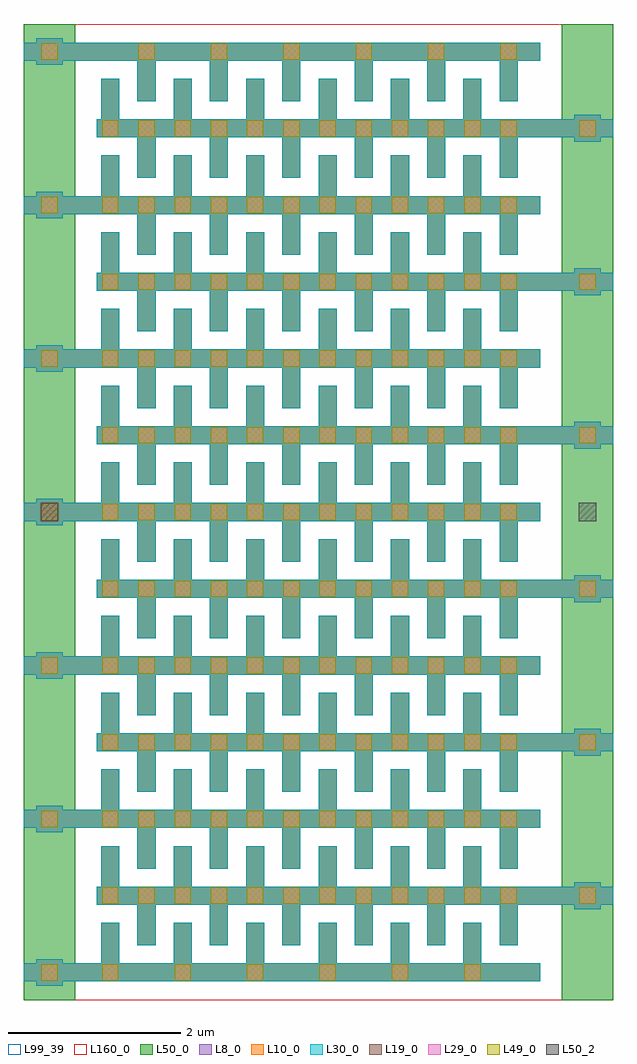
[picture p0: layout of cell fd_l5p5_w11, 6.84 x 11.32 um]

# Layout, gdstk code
import gdstk
lib = gdstk.Library(unit=1e-6, precision=1e-09)
def R(c, l, rs):  # rectangles x0, y0, x1, y1
    for r in rs: c.add(gdstk.rectangle(r[:2], r[2:], *l))
def A(c, l, x, y, w, h, nx, ny, dx, dy):  # array of equal rectangles
    R(c, l, [(x+i*dx, y+j*dy, x+i*dx+w, y+j*dy+h) for i in range(nx) for j in range(ny)])
L8_0 = (8, 0)
L10_0 = (10, 0)
L19_0 = (19, 0)
L29_0 = (29, 0)
L30_0 = (30, 0)
L49_0 = (49, 0)
L50_0 = (50, 0)
L50_2 = (50, 2)
L99_39 = (99, 39)
L160_0 = (160, 0)

fd_l5p5_w11 = lib.new_cell('fd_l5p5_w11')
A(fd_l5p5_w11, L8_0, -0.755, -0.155, 0.31, 0.31, 1, 7, 0, 1.78)
A(fd_l5p5_w11, L8_0, -0.9, -0.105, 5.99, 0.21, 1, 7, 0, 1.78)
A(fd_l5p5_w11, L8_0, 0, 0, 0.21, 0.575, 6, 12, 0.84, 0.89)
A(fd_l5p5_w11, L8_0, 0.42, 0.315, 0.21, 0.575, 6, 12, 0.84, 0.89)
A(fd_l5p5_w11, L8_0, 5.485, 0.735, 0.31, 0.31, 1, 6, 0, 1.78)
A(fd_l5p5_w11, L8_0, -0.05, 0.785, 5.99, 0.21, 1, 6, 0, 1.78)
A(fd_l5p5_w11, L10_0, -0.755, -0.155, 0.31, 0.31, 1, 7, 0, 1.78)
A(fd_l5p5_w11, L10_0, -0.9, -0.105, 5.99, 0.21, 1, 7, 0, 1.78)
A(fd_l5p5_w11, L10_0, 0, 0, 0.21, 0.575, 6, 12, 0.84, 0.89)
A(fd_l5p5_w11, L10_0, 0.42, 0.315, 0.21, 0.575, 6, 12, 0.84, 0.89)
A(fd_l5p5_w11, L10_0, 5.485, 0.735, 0.31, 0.31, 1, 6, 0, 1.78)
A(fd_l5p5_w11, L10_0, -0.05, 0.785, 5.99, 0.21, 1, 6, 0, 1.78)
A(fd_l5p5_w11, L19_0, -0.695, -0.095, 0.19, 0.19, 1, 7, 0, 1.78)
A(fd_l5p5_w11, L19_0, 0.01, -0.095, 0.19, 0.19, 6, 1, 0.84, 0)
A(fd_l5p5_w11, L19_0, 0.01, 0.795, 0.19, 0.19, 12, 11, 0.42, 0.89)
A(fd_l5p5_w11, L19_0, 5.545, 0.795, 0.19, 0.19, 1, 6, 0, 1.78)
A(fd_l5p5_w11, L19_0, 0.43, 10.585, 0.19, 0.19, 6, 1, 0.84, 0)
A(fd_l5p5_w11, L29_0, -0.695, -0.095, 0.19, 0.19, 1, 7, 0, 1.78)
A(fd_l5p5_w11, L29_0, 0.01, -0.095, 0.19, 0.19, 6, 1, 0.84, 0)
A(fd_l5p5_w11, L29_0, 0.01, 0.795, 0.19, 0.19, 12, 11, 0.42, 0.89)
A(fd_l5p5_w11, L29_0, 5.545, 0.795, 0.19, 0.19, 1, 6, 0, 1.78)
A(fd_l5p5_w11, L29_0, 0.43, 10.585, 0.19, 0.19, 6, 1, 0.84, 0)
A(fd_l5p5_w11, L30_0, -0.755, -0.155, 0.31, 0.31, 1, 7, 0, 1.78)
A(fd_l5p5_w11, L30_0, -0.9, -0.105, 5.99, 0.21, 1, 7, 0, 1.78)
A(fd_l5p5_w11, L30_0, 0, 0, 0.21, 0.575, 6, 12, 0.84, 0.89)
A(fd_l5p5_w11, L30_0, 0.42, 0.315, 0.21, 0.575, 6, 12, 0.84, 0.89)
A(fd_l5p5_w11, L30_0, 5.485, 0.735, 0.31, 0.31, 1, 6, 0, 1.78)
A(fd_l5p5_w11, L30_0, -0.05, 0.785, 5.99, 0.21, 1, 6, 0, 1.78)
A(fd_l5p5_w11, L49_0, -0.695, -0.095, 0.19, 0.19, 1, 7, 0, 1.78)
A(fd_l5p5_w11, L49_0, 0.01, -0.095, 0.19, 0.19, 6, 1, 0.84, 0)
A(fd_l5p5_w11, L49_0, 0.01, 0.795, 0.19, 0.19, 12, 11, 0.42, 0.89)
A(fd_l5p5_w11, L49_0, 5.545, 0.795, 0.19, 0.19, 1, 6, 0, 1.78)
A(fd_l5p5_w11, L49_0, 0.43, 10.585, 0.19, 0.19, 6, 1, 0.84, 0)
A(fd_l5p5_w11, L50_0, -0.9, -0.105, 5.99, 0.21, 1, 7, 0, 1.78)
A(fd_l5p5_w11, L50_0, 0, 0, 0.21, 0.575, 6, 12, 0.84, 0.89)
A(fd_l5p5_w11, L50_0, 0.42, 0.315, 0.21, 0.575, 6, 12, 0.84, 0.89)
A(fd_l5p5_w11, L50_0, -0.05, 0.785, 5.99, 0.21, 1, 6, 0, 1.78)
R(fd_l5p5_w11, L50_0, [(-0.9,-0.32,-0.3,11), (5.34,-0.32,5.94,11)])
R(fd_l5p5_w11, L50_2, [(-0.7,5.235,-0.5,5.445), (5.54,5.235,5.74,5.445)])
R(fd_l5p5_w11, L99_39, [(-0.9,-0.32,5.94,11)])
R(fd_l5p5_w11, L160_0, [(-0.9,-0.32,5.94,11)])
fd_l5p5_w11.add(gdstk.Label('cap_cmomi C=53.782fF', (-0.9,-0.82), layer=63, texttype=0))

lib.write_gds('fd_l5p5_w11.gds')
